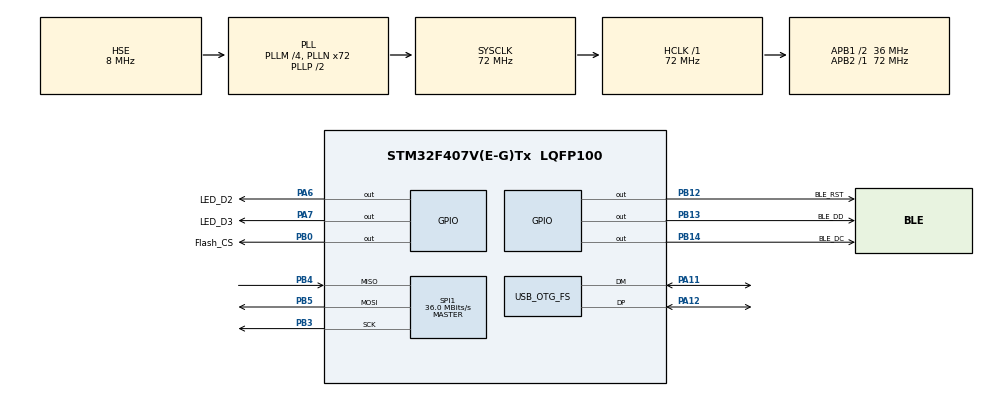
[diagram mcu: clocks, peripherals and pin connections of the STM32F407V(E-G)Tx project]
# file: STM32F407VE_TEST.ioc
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Mcu.Family=STM32F4
Mcu.Name=STM32F407V(E-G)Tx
Mcu.Package=LQFP100
NVIC.OTG_FS_IRQn=true\:0\:0\:false\:false\:true\:false\:true
NVIC.PriorityGroup=NVIC_PRIORITYGROUP_4
PA11.Mode=Device_Only
PA11.Signal=USB_OTG_FS_DM
PA12.Mode=Device_Only
PA12.Signal=USB_OTG_FS_DP
PA13.Mode=Serial_Wire
PA13.Signal=SYS_JTMS-SWDIO
PA14.Mode=Serial_Wire
PA14.Signal=SYS_JTCK-SWCLK
PA6.GPIO_Label=LED_D2
PA6.GPIO_Speed=GPIO_SPEED_FREQ_HIGH
PA6.Signal=GPIO_Output
PA7.GPIO_Label=LED_D3
PA7.GPIO_Speed=GPIO_SPEED_FREQ_HIGH
PA7.Signal=GPIO_Output
PB0.GPIO_Label=Flash_CS
PB0.GPIO_Speed=GPIO_SPEED_FREQ_HIGH
PB0.PinState=GPIO_PIN_SET
PB0.Signal=GPIO_Output
PB12.GPIO_Label=BLE_RST
PB12.GPIO_Speed=GPIO_SPEED_FREQ_VERY_HIGH
PB12.Signal=GPIO_Output
PB13.GPIO_Label=BLE_DD
PB13.GPIO_Speed=GPIO_SPEED_FREQ_VERY_HIGH
PB13.Signal=GPIO_Output
PB14.GPIO_Label=BLE_DC
PB14.GPIO_Speed=GPIO_SPEED_FREQ_VERY_HIGH
PB14.Signal=GPIO_Output
PB3.Mode=Full_Duplex_Master
PB3.Signal=SPI1_SCK
PB4.Mode=Full_Duplex_Master
PB4.Signal=SPI1_MISO
PB5.Mode=Full_Duplex_Master
PB5.Signal=SPI1_MOSI
PC14-OSC32_IN.Mode=LSE-External-Oscillator
PC14-OSC32_IN.Signal=RCC_OSC32_IN
PC15-OSC32_OUT.Mode=LSE-External-Oscillator
PC15-OSC32_OUT.Signal=RCC_OSC32_OUT
PH0-OSC_IN.Mode=HSE-External-Oscillator
PH0-OSC_IN.Signal=RCC_OSC_IN
PH1-OSC_OUT.Mode=HSE-External-Oscillator
PH1-OSC_OUT.Signal=RCC_OSC_OUT
ProjectManager.HeapSize=0x200
ProjectManager.StackSize=0x400
ProjectManager.TargetToolchain=STM32CubeIDE
RCC.48MHZClocksFreq_Value=48000000
RCC.AHBFreq_Value=72000000
RCC.APB1CLKDivider=RCC_HCLK_DIV2
RCC.APB1Freq_Value=36000000
RCC.APB1TimFreq_Value=72000000
RCC.APB2Freq_Value=72000000
RCC.APB2TimFreq_Value=72000000
RCC.CortexFreq_Value=72000000
RCC.HCLKFreq_Value=72000000
RCC.HSE_VALUE=8000000
RCC.HSI_VALUE=16000000
RCC.PLLM=4
RCC.PLLN=72
RCC.PLLQ=3
RCC.SYSCLKFreq_VALUE=72000000
RCC.SYSCLKSource=RCC_SYSCLKSOURCE_PLLCLK
RCC.VCOOutputFreq_Value=144000000
SPI1.CalculateBaudRate=36.0 MBits/s
SPI1.Direction=SPI_DIRECTION_2LINES
SPI1.Mode=SPI_MODE_MASTER
SPI1.VirtualType=VM_MASTER
USB_DEVICE.CLASS_NAME_FS=CDC
USB_DEVICE.VirtualMode-CDC_FS=Cdc
USB_DEVICE.VirtualModeFS=Cdc_FS
USB_OTG_FS.VirtualMode=Device_Only
VP_CRC_VS_CRC.Mode=CRC_Activate
VP_USB_DEVICE_VS_USB_DEVICE_CDC_FS.Mode=CDC_FS
board=custom

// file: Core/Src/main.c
/* USER CODE BEGIN Header */
/**
  ******************************************************************************
  * @file           : main.c
  * @brief          : Main program body
  ******************************************************************************
  * @attention
  *
  * <h2><center>&copy; Copyright (c) 2020 STMicroelectronics.
  * All rights reserved.</center></h2>
  *
  * This software component is licensed by ST under BSD 3-Clause license,
  * the "License"; You may not use this file except in compliance with the
  * License. You may obtain a copy of the License at:
  *                        opensource.org/licenses/BSD-3-Clause
  *
  ******************************************************************************
  */
/* USER CODE END Header */

#include "main.h"
#include "usb_device.h"

/* USER CODE BEGIN Includes */
#include "usbd_cdc_if.h"
#include "w25qxx.h"
/* USER CODE END Includes */

CRC_HandleTypeDef hcrc;

SPI_HandleTypeDef hspi1;

/* USER CODE BEGIN PV */
extern char str_rx_BUF[];
extern uint32_t str_rx_LEN;

extern w25qxx_t	w25qxx;
/* USER CODE END PV */

void SystemClock_Config(void);
static void MX_GPIO_Init(void);
static void MX_CRC_Init(void);
static void MX_SPI1_Init(void);

int main(void)
{
  /* USER CODE BEGIN 1 */
	 char str_tx[21];
  /* USER CODE END 1 */

  /* MCU Configuration--------------------------------------------------------*/

  /* Reset of all peripherals, Initializes the Flash interface and the Systick. */
  HAL_Init();

  /* Configure the system clock */
  SystemClock_Config();

  /* Initialize all configured peripherals */
  MX_GPIO_Init();
  MX_CRC_Init();
  MX_USB_DEVICE_Init();
  MX_SPI1_Init();
  /* USER CODE BEGIN 2 */
  //BLE_Programmer_main();
  W25qxx_Init();
  sprintf(str_tx,"USB Transmit\r\n");

  //W25qxx_EraseSector(0);
  char buf[64];
  W25qxx_ReadByte(&buf[0], 25);
  W25qxx_ReadByte(&buf[1], 26);
  W25qxx_ReadByte(&buf[2], 27);
  W25qxx_ReadByte(&buf[3], 28);
  W25qxx_ReadByte(&buf[4], 29);

  /* USER CODE END 2 */

  /* Infinite loop */
  /* USER CODE BEGIN WHILE */
  while (1)
  {

	  CDC_Transmit_FS((unsigned char*)"FLASH:", strlen("FLASH:"));
	    HAL_Delay(500);
	    CDC_Transmit_FS((unsigned char*) buf, 5);
	    HAL_Delay(500);
	    CDC_Transmit_FS((unsigned char*)"\r\n", strlen("\r\n"));
	  /*{
			snprintf(buf, 64, "Flash INFO:\n");
			CDC_Transmit_FS((uint8_t*)buf, strlen(buf));
			HAL_Delay(200);
			snprintf(buf, 64, "Page Size: %d Bytes\n", w25qxx.PageSize);
			CDC_Transmit_FS((uint8_t*)buf, strlen(buf));
			HAL_Delay(200);
			snprintf(buf, 64, "Page Count: %lu\n", w25qxx.PageCount);
			CDC_Transmit_FS((uint8_t*)buf, strlen(buf));
			HAL_Delay(200);
			snprintf(buf, 64, "Sector Size: %lu Bytes\n", w25qxx.SectorSize);
			CDC_Transmit_FS((uint8_t*)buf, strlen(buf));
			HAL_Delay(200);
			snprintf(buf, 64, "Sector Count: %lu\n", w25qxx.SectorCount);
			CDC_Transmit_FS((uint8_t*)buf, strlen(buf));
			HAL_Delay(200);
			snprintf(buf, 64, "Block Size: %lu Bytes\n", w25qxx.BlockSize);
			CDC_Transmit_FS((uint8_t*)buf, strlen(buf));
			HAL_Delay(200);
			snprintf(buf, 64, "Block Count: %lu\n", w25qxx.BlockCount);
			CDC_Transmit_FS((uint8_t*)buf, strlen(buf));
			HAL_Delay(200);
			snprintf(buf, 64, "Capacity: %lu KBytes\n", w25qxx.CapacityInKiloByte);
			CDC_Transmit_FS((uint8_t*)buf, strlen(buf));
			HAL_Delay(200);
			CDC_Transmit_FS((uint8_t*)"Init Done\n", 10);
			HAL_Delay(200);
	  }*/

	  if(str_rx_LEN>0){
		  CDC_Transmit_FS((unsigned char*)"USB Recive:", strlen("USB Recive:"));
		  HAL_Delay(500);
		  CDC_Transmit_FS((unsigned char*)str_rx_BUF, str_rx_LEN);
		  HAL_Delay(500);
		  CDC_Transmit_FS((unsigned char*)"\r\n", strlen("\r\n"));
		  str_rx_LEN=0;
	  }
	  HAL_Delay(500);
	  CDC_Transmit_FS((unsigned char*)str_tx, strlen(str_tx));
	  HAL_Delay(500);
	  HAL_GPIO_WritePin(LED_D3_GPIO_Port, LED_D3_Pin, GPIO_PIN_RESET);
		HAL_Delay(500);
		 HAL_GPIO_WritePin(LED_D3_GPIO_Port, LED_D3_Pin, GPIO_PIN_SET);

    /* USER CODE END WHILE */

  }
}

void SystemClock_Config(void)
{
  RCC_OscInitTypeDef RCC_OscInitStruct = {0};
  RCC_ClkInitTypeDef RCC_ClkInitStruct = {0};

  /** Configure the main internal regulator output voltage
  */
  __HAL_RCC_PWR_CLK_ENABLE();
  __HAL_PWR_VOLTAGESCALING_CONFIG(PWR_REGULATOR_VOLTAGE_SCALE1);
  /** Initializes the CPU, AHB and APB busses clocks
  */
  RCC_OscInitStruct.OscillatorType = RCC_OSCILLATORTYPE_HSE;
  RCC_OscInitStruct.HSEState = RCC_HSE_ON;
  RCC_OscInitStruct.PLL.PLLState = RCC_PLL_ON;
  RCC_OscInitStruct.PLL.PLLSource = RCC_PLLSOURCE_HSE;
  RCC_OscInitStruct.PLL.PLLM = 4;
  RCC_OscInitStruct.PLL.PLLN = 72;
  RCC_OscInitStruct.PLL.PLLP = RCC_PLLP_DIV2;
  RCC_OscInitStruct.PLL.PLLQ = 3;
  if (HAL_RCC_OscConfig(&RCC_OscInitStruct) != HAL_OK)
  {
    Error_Handler();
  }
  /** Initializes the CPU, AHB and APB busses clocks
  */
  RCC_ClkInitStruct.ClockType = RCC_CLOCKTYPE_HCLK|RCC_CLOCKTYPE_SYSCLK
                              |RCC_CLOCKTYPE_PCLK1|RCC_CLOCKTYPE_PCLK2;
  RCC_ClkInitStruct.SYSCLKSource = RCC_SYSCLKSOURCE_PLLCLK;
  RCC_ClkInitStruct.AHBCLKDivider = RCC_SYSCLK_DIV1;
  RCC_ClkInitStruct.APB1CLKDivider = RCC_HCLK_DIV2;
  RCC_ClkInitStruct.APB2CLKDivider = RCC_HCLK_DIV1;

  if (HAL_RCC_ClockConfig(&RCC_ClkInitStruct, FLASH_LATENCY_2) != HAL_OK)
  {
    Error_Handler();
  }
}

static void MX_CRC_Init(void)
{

  hcrc.Instance = CRC;
  if (HAL_CRC_Init(&hcrc) != HAL_OK)
  {
    Error_Handler();
  }

}

static void MX_SPI1_Init(void)
{

  /* SPI1 parameter configuration*/
  hspi1.Instance = SPI1;
  hspi1.Init.Mode = SPI_MODE_MASTER;
  hspi1.Init.Direction = SPI_DIRECTION_2LINES;
  hspi1.Init.DataSize = SPI_DATASIZE_8BIT;
  hspi1.Init.CLKPolarity = SPI_POLARITY_LOW;
  hspi1.Init.CLKPhase = SPI_PHASE_1EDGE;
  hspi1.Init.NSS = SPI_NSS_SOFT;
  hspi1.Init.BaudRatePrescaler = SPI_BAUDRATEPRESCALER_2;
  hspi1.Init.FirstBit = SPI_FIRSTBIT_MSB;
  hspi1.Init.TIMode = SPI_TIMODE_DISABLE;
  hspi1.Init.CRCCalculation = SPI_CRCCALCULATION_DISABLE;
  hspi1.Init.CRCPolynomial = 10;
  if (HAL_SPI_Init(&hspi1) != HAL_OK)
  {
    Error_Handler();
  }

}

static void MX_GPIO_Init(void)
{
  GPIO_InitTypeDef GPIO_InitStruct = {0};

  /* GPIO Ports Clock Enable */
  __HAL_RCC_GPIOC_CLK_ENABLE();
  __HAL_RCC_GPIOH_CLK_ENABLE();
  __HAL_RCC_GPIOA_CLK_ENABLE();
  __HAL_RCC_GPIOB_CLK_ENABLE();

  /*Configure GPIO pin Output Level */
  HAL_GPIO_WritePin(GPIOA, LED_D2_Pin|LED_D3_Pin, GPIO_PIN_RESET);

  /*Configure GPIO pin Output Level */
  HAL_GPIO_WritePin(Flash_CS_GPIO_Port, Flash_CS_Pin, GPIO_PIN_SET);

  /*Configure GPIO pin Output Level */
  HAL_GPIO_WritePin(GPIOB, BLE_RST_Pin|BLE_DD_Pin|BLE_DC_Pin, GPIO_PIN_RESET);

  /*Configure GPIO pins : LED_D2_Pin LED_D3_Pin */
  GPIO_InitStruct.Pin = LED_D2_Pin|LED_D3_Pin;
  GPIO_InitStruct.Mode = GPIO_MODE_OUTPUT_PP;
  GPIO_InitStruct.Pull = GPIO_NOPULL;
  GPIO_InitStruct.Speed = GPIO_SPEED_FREQ_HIGH;
  HAL_GPIO_Init(GPIOA, &GPIO_InitStruct);

  /*Configure GPIO pin : Flash_CS_Pin */
  GPIO_InitStruct.Pin = Flash_CS_Pin;
  GPIO_InitStruct.Mode = GPIO_MODE_OUTPUT_PP;
  GPIO_InitStruct.Pull = GPIO_NOPULL;
  GPIO_InitStruct.Speed = GPIO_SPEED_FREQ_HIGH;
  HAL_GPIO_Init(Flash_CS_GPIO_Port, &GPIO_InitStruct);

  /*Configure GPIO pins : BLE_RST_Pin BLE_DD_Pin BLE_DC_Pin */
  GPIO_InitStruct.Pin = BLE_RST_Pin|BLE_DD_Pin|BLE_DC_Pin;
  GPIO_InitStruct.Mode = GPIO_MODE_OUTPUT_PP;
  GPIO_InitStruct.Pull = GPIO_NOPULL;
  GPIO_InitStruct.Speed = GPIO_SPEED_FREQ_VERY_HIGH;
  HAL_GPIO_Init(GPIOB, &GPIO_InitStruct);

}

void Error_Handler(void)
{
}

/************************ (C) COPYRIGHT STMicroelectronics *****END OF FILE****/
